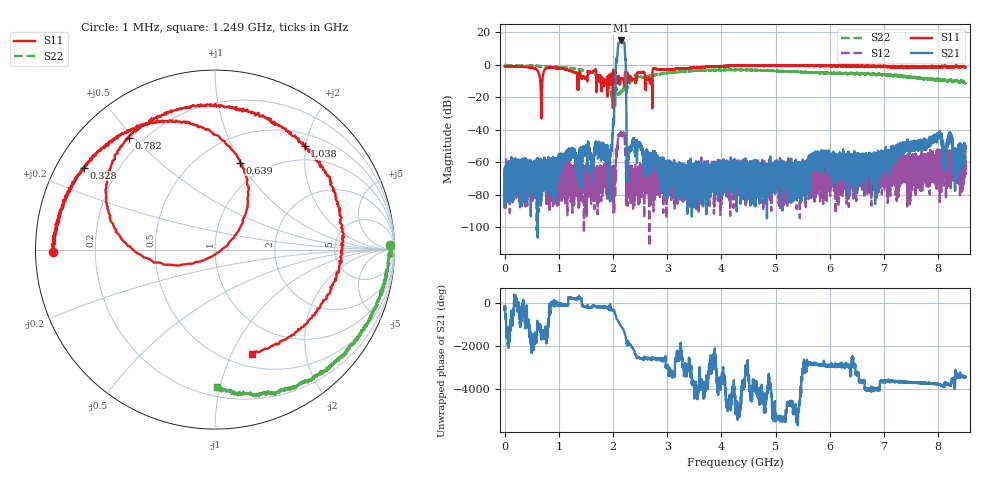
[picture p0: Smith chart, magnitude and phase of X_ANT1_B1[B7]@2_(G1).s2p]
#  HZ  S  RI  R  50.00
! Rohde & Schwarz Vector Network Analyzer
! Rohde-Schwarz,ZNBT8-20Port,1318700624101681,3.50
! Created: UTC 7/15/2025, 2:12:40 PM
! freq[Hz]  re:S1010  im:S1010  re:S0510  im:S0510  re:S1005  im:S1005  re:S55  im:S55
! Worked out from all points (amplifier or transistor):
!   8500 points, 1 MHz to 8.5 GHz, reference 50 ohm
!   highest |S21| = 14.9 dB at 2.144 GHz (marker M1)
!   |S21| within 3 dB of that: 2.095 GHz to 2.215 GHz (120.1 MHz wide, 5.58 % of centre)
!   unconditionally stable (mu >= 1): start of sweep to end of sweep
!   at 1.417 GHz: K = 697314.90, MAG = -56.1 dB, |S12| = -70.3 dB
!   at 4.251 GHz: K = 178896.93, MAG = -56.2 dB, |S12| = -66.5 dB
!   at 8.5 GHz: K = 282403.43, MAG = -52.3 dB, |S12| = -67.9 dB
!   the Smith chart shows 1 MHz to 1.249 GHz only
!   S11 on the Smith chart (normalised r, x): 1 MHz: 0.05, -0.01; 328 MHz: 0.08, +0.29; 639 MHz: 0.77, +1.00; 782 MHz: 0.15, +0.48; 1.038 GHz: 0.72, +1.98; 1.249 GHz: 0.64, -1.20
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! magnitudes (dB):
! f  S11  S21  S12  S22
! 1 MHz  -0.9  -71.8  -78.6  -0.2
! 328 MHz  -1.3  -65.8  -68.7  -0.5
! 639 MHz  -5.9  -69.2  -68.4  -0.8
! 782 MHz  -2.1  -66.1  -75.8  -1.1
! 1.038 GHz  -2.4  -59.6  -70.9  -1.5
! 1.249 GHz  -4.2  -52.8  -68.6  -2.3
! 1.418 GHz  -8.3  -58.8  -70.6  -3.3
! 1.947 GHz  -10.8  -64.6  -65.1  -15.3
! 2.012 GHz  -3.5  -35.2  -70.5  -18.4
! 2.089 GHz  -8.9  9.5  -46.8  -17.9
! 2.144 GHz  -8.9  14.9  -41.3  -16.7
! 2.205 GHz  -11.8  13.5  -42.6  -14.7
! 2.293 GHz  -10.0  -52.4  -79.3  -12.5
! 2.834 GHz  -2.8  -59.3  -67.1  -5.8
! 4.251 GHz  -0.6  -67.8  -66.5  -3.1
! 5.667 GHz  -0.4  -56.6  -69.1  -4.9
! 7.084 GHz  -1.0  -58.6  -63.4  -6.2
! 8.019 GHz  -1.6  -43.4  -60.4  -9.2
! 8.122 GHz  -0.9  -59.1  -63.4  -9.4
! 8.228 GHz  -1.5  -43.5  -63.7  -9.8
! 8.319 GHz  -1.1  -58.3  -57.4  -9.6
! 8.5 GHz  -1.7  -57.5  -67.9  -11.0
